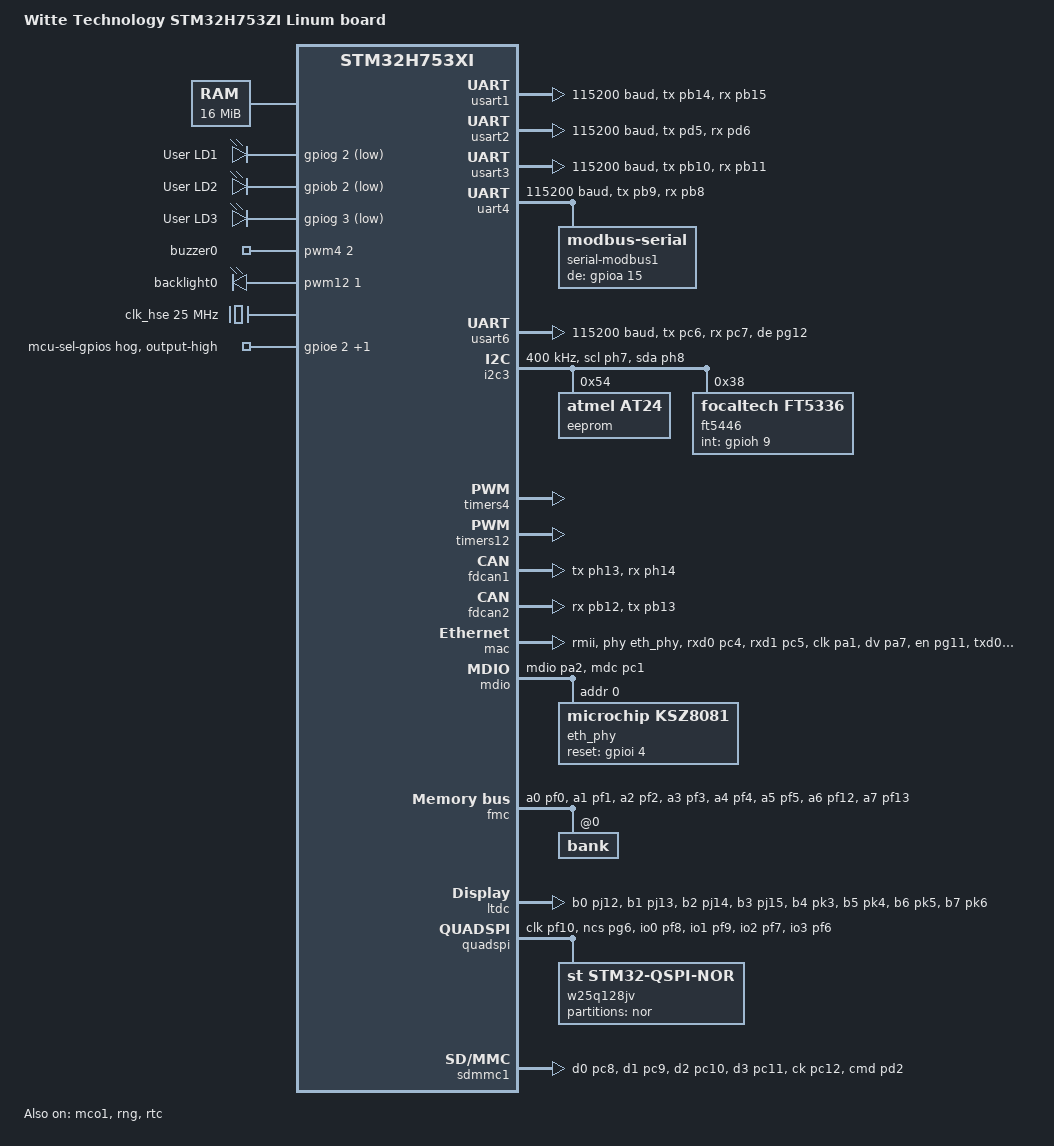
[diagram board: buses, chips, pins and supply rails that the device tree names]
/*
 * Copyright (c) 2024 Felipe Neves
 *
 * SPDX-License-Identifier: Apache-2.0
 */

/dts-v1/;
#include <st/h7/stm32h753Xi.dtsi>
#include <st/h7/stm32h753bitx-pinctrl.dtsi>
#include <zephyr/dt-bindings/clock/stm32h7_clock.h>
#include <zephyr/dt-bindings/input/input-event-codes.h>
#include <zephyr/dt-bindings/memory-attr/memory-attr.h>
#include <zephyr/dt-bindings/memory-attr/memory-attr-arm.h>

/ {
	model = "Witte Technology STM32H753ZI Linum board";
	compatible = "witte,linum";

	chosen {
		zephyr,console = &usart1;
		zephyr,shell-uart = &usart1;
		zephyr,sram = &sram0;
		zephyr,flash = &flash0;
		zephyr,dtcm = &dtcm;
		zephyr,code-partition = &slot0_partition;
		zephyr,canbus = &fdcan1;
		zephyr,display = &ltdc;
		zephyr,flash-controller = &w25q128jv;
		zephyr,touch = &ft5446;
	};

	sdram1: sdram@c0000000 {
		compatible = "zephyr,memory-region", "mmio-sram";
		device_type = "memory";
		reg = <0xc0000000 DT_SIZE_M(8)>;
		zephyr,memory-region = "SDRAM1";
		zephyr,memory-attr = <( DT_MEM_ARM(ATTR_MPU_RAM) )>;
	};

	ext_memory: memory@90000000 {
		compatible = "zephyr,memory-region";
		reg = <0x90000000 DT_SIZE_M(16)>;
		zephyr,memory-region = "FLASHEXT";
		/* The ATTR_MPU_EXTMEM attribut causing a MPU FAULT */
		zephyr,memory-attr = <( DT_MEM_ARM(ATTR_MPU_IO) )>;
	};

	leds: leds {
		compatible = "gpio-leds";
		green_led: led_0 {
			gpios = <&gpiog 2 GPIO_ACTIVE_LOW>;
			label = "User LD1";
		};
		red_led: led_1 {
			gpios = <&gpiob 2 GPIO_ACTIVE_LOW>;
			label = "User LD2";
		};
		blue_led: led_2 {
			gpios = <&gpiog 3 GPIO_ACTIVE_LOW>;
			label = "User LD3";
		};
	};

	pwmleds: pwmleds {
		compatible = "pwm-leds";
		status = "okay";

		buzzer0: buzzer0 {
			pwms = <&pwm4 2 PWM_HZ(1000) PWM_POLARITY_NORMAL>;
		};

		backlight0: backlight0{
			pwms = <&pwm12 1 PWM_HZ(1000) PWM_POLARITY_NORMAL>;
		};
	};

	aliases {
		led0 = &green_led;
		led1 = &blue_led;
		led2 = &red_led;
		pwm-buzzer0 = &buzzer0;
		pwm-backlight0 = &backlight0;
		eeprom-0 = &eeprom;
		spi-flash0 = &w25q128jv;
	};
};

&clk_lsi {
	status = "okay";
};

&clk_hsi48 {
	status = "okay";
};

&clk_hse {
	clock-frequency = <DT_FREQ_M(25)>;
	status = "okay";
};

&pll {
	div-m = <5>;
	mul-n = <192>;
	div-p = <2>;
	div-q = <4>;
	div-r = <4>;
	clocks = <&clk_hse>;
	status = "okay";
};

&pll2 {
	div-m = <5>;
	mul-n = <96>;
	div-p = <8>;
	div-q = <40>;
	div-r = <10>;
	clocks = <&clk_hse>;
	status = "okay";
};

&pll3 {
	div-m = <5>;
	mul-n = <128>;
	div-p = <4>;
	div-q = <4>;
	div-r = <25>;
	clocks = <&clk_hse>;
	status = "okay";
};

&rcc {
	clocks = <&pll>;
	clock-frequency = <DT_FREQ_M(480)>;
	d1cpre = <1>;
	hpre = <2>;
	d1ppre = <2>;
	d2ppre1 = <2>;
	d2ppre2 = <2>;
	d3ppre = <2>;
};

&mco1 {
	status = "okay";
	clocks = <&rcc STM32_SRC_HSE MCO1_SEL(STM32_SRC_HSE)>;
	prescaler = <MCO1_PRE(MCO_PRE_DIV_1)>;
	pinctrl-0 = <&rcc_mco_1_pa8>;
	pinctrl-names = "default";
};

&rng{
	status = "okay";
};

&usart1 {
	pinctrl-0 = <&usart1_tx_pb14 &usart1_rx_pb15>;
	pinctrl-names = "default";
	current-speed = <115200>;
	status = "okay";
};

&usart2 {
	pinctrl-0 = <&usart2_tx_pd5 &usart2_rx_pd6>;
	pinctrl-names = "default";
	current-speed = <115200>;
	status = "okay";
};

&usart3 {
	pinctrl-0 = <&usart3_tx_pb10 &usart3_rx_pb11>;
	pinctrl-names = "default";
	current-speed = <115200>;
	status = "okay";
};

&uart4 {
	pinctrl-0 = <&uart4_tx_pb9 &uart4_rx_pb8>;
	pinctrl-names = "default";
	current-speed = <115200>;
	status = "okay";

	dmas = <&dmamux1 0 52 STM32_DMA_PERIPH_TX>,<&dmamux1 1 51 STM32_DMA_PERIPH_RX>;
	dma-names = "tx","rx";

	modbus1: modbus1 {
		compatible = "zephyr,modbus-serial";
		de-gpios = <&gpioa 15 GPIO_ACTIVE_HIGH>;
		label = "serial-modbus1";
		status = "okay";
	};
};

&usart6 {
	pinctrl-0 = <&usart6_tx_pc6 &usart6_rx_pc7 &usart6_de_pg12>;
	pinctrl-names = "default";
	current-speed = <115200>;
	de-enable;
	de-assert-time = <31>;
	de-deassert-time = <31>;
	status = "okay";
};

&dma1{
	status = "okay";
};

&dma2{
	status = "okay";
};

&dmamux1{
	status = "okay";
};

&rtc{
	clocks = <&rcc STM32_CLOCK(APB4, 16)>,<&rcc STM32_SRC_LSE RTC_SEL(1)>;
	status = "okay";
};

&i2c3{
	pinctrl-0 = <&i2c3_scl_ph7 &i2c3_sda_ph8>;
	pinctrl-names = "default";
	clock-frequency = <I2C_BITRATE_FAST>;
	status = "okay";

	eeprom: eeprom@54 {
		compatible = "atmel,at24";
		status = "okay";
		reg = <0x54>;
		size = <DT_SIZE_K(32)>;
		pagesize = <64>;
		address-width = <16>;
		timeout = <5>;
	};

	ft5446: ft5446@38 {
		compatible = "focaltech,ft5336";
		reg = <0x38>;
		int-gpios = <&gpioh 9 0>;
	};
};

&timers4 {
	st,prescaler = <11>;
	status = "okay";
	pwm4:pwm {
		status = "okay";
		pinctrl-0 = <&tim4_ch2_pb7>;
		pinctrl-names = "default";
	};
};

&timers12 {
	st,prescaler = <11>;
	status = "okay";
	pwm12: pwm {
		status = "okay";
		pinctrl-0 = <&tim12_ch1_ph6>;
		pinctrl-names = "default";
	};
};

&fdcan1 {
	pinctrl-0 = <&fdcan1_tx_ph13 &fdcan1_rx_ph14>;
	pinctrl-names = "default";
	status = "okay";
};

&fdcan2 {
	pinctrl-0 = <&fdcan2_rx_pb12 &fdcan2_tx_pb13>;
	pinctrl-names = "default";
	status = "okay";
};

&gpioe {
	status = "okay";

	/* power FDCAN2 XVCR*/
	mcu-sel-gpios {
		gpio-hog;
		gpios = <2 GPIO_ACTIVE_HIGH>,<4 GPIO_ACTIVE_HIGH>;

		output-high;
	};
};

&mac {
	status = "okay";
	pinctrl-0 = <&eth_rxd0_pc4 &eth_rxd1_pc5 &eth_ref_clk_pa1 &eth_crs_dv_pa7
				&eth_tx_en_pg11 &eth_txd0_pg13 &eth_txd1_pg14>;
	pinctrl-names = "default";
	phy-connection-type = "rmii";
	phy-handle = <&eth_phy>;
};

&mdio {
	status = "okay";
	pinctrl-0 = <&eth_mdio_pa2 &eth_mdc_pc1>;
	pinctrl-names = "default";

	eth_phy: ethernet-phy@0 {
		compatible = "microchip,ksz8081";
		reg = <0x00>;
		reset-gpios = <&gpioi 4 GPIO_ACTIVE_HIGH>;
		microchip,interface-type = "rmii";
		status = "okay";
	};
};

&fmc{
	pinctrl-0 =
		<&fmc_a0_pf0 &fmc_a1_pf1 &fmc_a2_pf2 &fmc_a3_pf3 &fmc_a4_pf4 &fmc_a5_pf5
		&fmc_a6_pf12 &fmc_a7_pf13 &fmc_a8_pf14 &fmc_a9_pf15 &fmc_a10_pg0 &fmc_a11_pg1
		&fmc_a14_pg4 &fmc_a15_pg5 &fmc_d0_pd14 &fmc_d1_pd15 &fmc_d2_pd0 &fmc_d3_pd1
		&fmc_d4_pe7 &fmc_d5_pe8 &fmc_d6_pe9 &fmc_d7_pe10 &fmc_d8_pe11 &fmc_d9_pe12
		&fmc_d10_pe13 &fmc_d11_pe14 &fmc_d12_pe15 &fmc_d13_pd8 &fmc_d14_pd9
		&fmc_d15_pd10 &fmc_nbl0_pe0 &fmc_nbl1_pe1 &fmc_sdcke0_pc3_c &fmc_sdclk_pg8
		&fmc_sdncas_pg15 &fmc_sdne0_pc2_c &fmc_sdnras_pf11 &fmc_sdnwe_pc0>;
	pinctrl-names = "default";
	status = "okay";

	sdram {
		status = "okay";
		power-up-delay = <100>;
		num-auto-refresh = <8>;
		mode-register = <0x220>;
		refresh-rate = <1562>;
		bank@0{
			reg = <0>;
			st,sdram-control = <STM32_FMC_SDRAM_NC_8 STM32_FMC_SDRAM_NR_12
								STM32_FMC_SDRAM_MWID_16
								STM32_FMC_SDRAM_NB_4
								STM32_FMC_SDRAM_CAS_2
								STM32_FMC_SDRAM_SDCLK_PERIOD_3
								STM32_FMC_SDRAM_RBURST_ENABLE
								STM32_FMC_SDRAM_RPIPE_0>;
			st,sdram-timing = <2 6 4 6 2 2 2>;
		};
	};
};

&ltdc {
	pinctrl-0 = <&ltdc_b0_pj12 &ltdc_b1_pj13 &ltdc_b2_pj14 &ltdc_b3_pj15 &ltdc_b4_pk3
		       &ltdc_b5_pk4 &ltdc_b6_pk5 &ltdc_b7_pk6 &ltdc_r0_pi15 &ltdc_r1_pj0
		       &ltdc_r2_pj1 &ltdc_r3_pj2 &ltdc_r4_pj3 &ltdc_r5_pj4 &ltdc_r6_pj5
		       &ltdc_r7_pj6 &ltdc_g0_pj7 &ltdc_g1_pj8 &ltdc_g2_pj9 &ltdc_g3_pj10
		       &ltdc_g4_pj11 &ltdc_g5_pk0 &ltdc_g6_pk1 &ltdc_g7_pk2 &ltdc_de_pk7
		       &ltdc_clk_pi14 &ltdc_hsync_pi10 &ltdc_vsync_pi9>;
	pinctrl-names = "default";
	disp-on-gpios = <&gpioi 7 GPIO_ACTIVE_HIGH>;
	ext-sdram = <&sdram1>;
	status = "okay";
	width = <1024>;
	height = <600>;
	pixel-format = <PANEL_PIXEL_FORMAT_RGB_565>;

	display-timings {
		compatible = "zephyr,panel-timing";
		de-active = <0>;
		pixelclk-active = <0>;
		hsync-active = <0>;
		vsync-active = <0>;
		hsync-len = <1>;
		vsync-len = <1>;
		hback-porch = <160>;
		vback-porch = <23>;
		hfront-porch = <160>;
		vfront-porch = <12>;
	};
	def-back-color-red = <0xFF>;
	def-back-color-green = <0xFF>;
	def-back-color-blue = <0xFF>;
};

&flash0 {

	partitions {
		compatible = "fixed-partitions";
		#address-cells = <1>;
		#size-cells = <1>;

		/* 128KB for bootloader */
		boot_partition: partition@0 {
			label = "mcuboot";
			reg = <0x00000000 DT_SIZE_K(128)>;
			read-only;
		};

		/* storage: 256KB for settings */
		storage_partition: partition@20000 {
			label = "storage";
			reg = <0x00020000 DT_SIZE_K(256)>;
		};

		/* application image slot: 512KB */
		slot0_partition: partition@60000 {
			label = "image-0";
			reg = <0x00060000 DT_SIZE_K(512)>;
		};

		/* backup slot: 512KB */
		slot1_partition: partition@e0000 {
			label = "image-1";
			reg = <0x000e0000 DT_SIZE_K(512)>;
		};

		/* swap slot: 256KB */
		scratch_partition: partition@160000 {
			label = "image-scratch";
			reg = <0x00160000 DT_SIZE_K(256)>;
		};
	};
};

&quadspi {
	pinctrl-0 = <&quadspi_clk_pf10 &quadspi_bk1_ncs_pg6 &quadspi_bk1_io0_pf8
				&quadspi_bk1_io1_pf9 &quadspi_bk1_io2_pf7 &quadspi_bk1_io3_pf6>;
	pinctrl-names = "default";
	status = "okay";


	w25q128jv: qspi-nor-flash@90000000 {
		compatible = "st,stm32-qspi-nor";
		reg = <0x90000000 DT_SIZE_M(16)>;
		qspi-max-frequency = <DT_FREQ_M(100)>;
		spi-bus-width = <4>;
		writeoc = "PP_1_1_4";
		status = "okay";

		partitions {
			compatible = "fixed-partitions";
			#address-cells = < 1>;
			#size-cells = < 1>;
			partition@0 {
				label = "nor";
				reg = <0x00000000 DT_SIZE_M(16)>;
			};
		};
	};
};

&sdmmc1
{
	disk-name = "SD1";
	status = "okay";
	pinctrl-0 = <&sdmmc1_d0_pc8 &sdmmc1_d1_pc9 &sdmmc1_d2_pc10 &sdmmc1_d3_pc11
				&sdmmc1_ck_pc12 &sdmmc1_cmd_pd2>;
	pinctrl-names = "default";
	cd-gpios = <&gpiog 7 GPIO_ACTIVE_LOW>;
	pwr-gpios = <&gpiod 7 GPIO_ACTIVE_LOW>;
	clocks = <&rcc STM32_CLOCK_BUS_AHB3 0x00100000>,<&rcc STM32_SRC_PLL2_R SDMMC_SEL(1)>;
};
